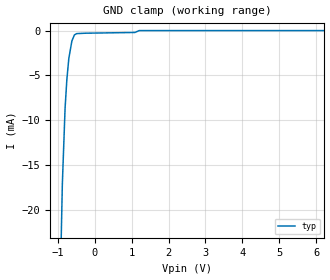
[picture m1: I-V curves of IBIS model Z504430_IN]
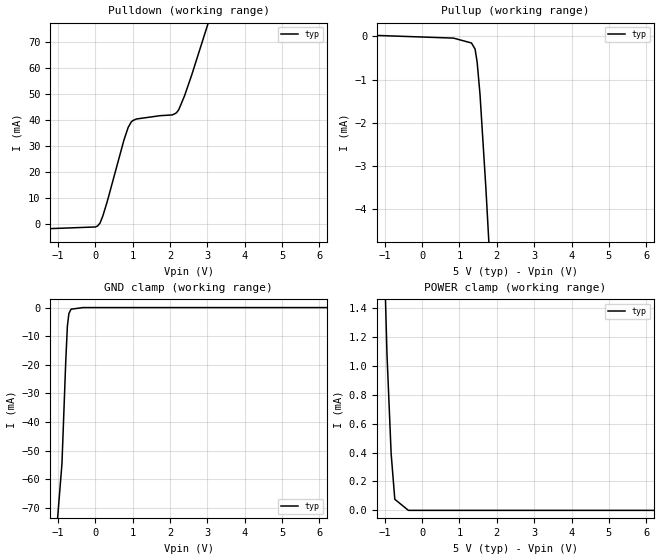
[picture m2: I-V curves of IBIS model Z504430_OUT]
| YOU ARE ONLY AUTHORIZED TO USE THIS SOFTWARE
| ACCORDING TO LICENSOR'S LICENSE RESTRICTIONS.
[IBIS Ver] 3.1
[File Name] sn54ls273j.ibs
[File Rev] 2.0
[Source] Measured and created by ICX Technology
[Date] Friday 7/14/00 9:08:14 AM
[Copyright]
| (C) COPYRIGHT 1993-2000
| MENTOR GRAPHICS CORPORATION
| ICX STANDARD LIBRARY, ICX PROJECT MODELING,
| ICX CUSTOM MODELING, ICX VENDOR MODEL
| ALL RIGHTS RESERVED.
| THE FOLLOWING ARE TRADEMARKS OR SERVICE MARKS OF
| MENTOR GRAPHICS CORPORATION:ICX (R), ICX STANDARD
| LIBRARY(R), ICX PROJECT MODELING(R), ICX CUSTOM
| MODELING(R), qualityIBIS(TM), MODELVIEWER(TM),
| AND MODELEDITOR(TM)
| ALL COPIES OF SOFTWARE, INCLUDING BUT NOT LIMITED TO
| ANY MODIFICATIONS, ENHANCEMENTS OR DERIVATIVE WORKS,
| MUST CONTAIN ALL MENTOR GRAPHICS CORPORATION'S
| NOTICES AND LEGENDS, INCLUDING THOSE EMBEDDED IN
| SOFTWARE AND THOSE AFFIXED TO SOFTWARE MEDIUM
| AND CONTAINER, AS RECEIVED FROM MENTOR GRAPHICS
| CORPORATION.
|  ZAP Model Builder 2.7
[Component] SN54LS273J
[Manufacturer] OnSemiconductor
[Package]
| variable   typ   min   max
R_pkg  .216ohms NA NA
L_pkg  5.76nH NA NA
C_pkg  2.193pF NA NA
[Pin] signal_name  model_name  R_pin  L_pin C_pin
1 _CLR Z504430_IN .232 9.76n 3.179p
2 Q0 Z504430_OUT .224 7.26n 2.686p
3 D0 Z504430_IN .216 5.26n 2.193p
4 D1 Z504430_IN .208 3.76n 1.7p
5 Q1 Z504430_OUT .2 2.76n 1.207p
6 Q2 Z504430_OUT .2 2.76n 1.207p
7 D2 Z504430_IN .208 3.76n 1.7p
8 D3 Z504430_IN .216 5.26n 2.193p
9 Q3 Z504430_OUT .224 7.26n 2.686p
10 GND GND .232 9.76n 3.179p
11 CLK Z504430_IN .232 9.76n 3.179p
12 Q4 Z504430_OUT .224 7.26n 2.686p
13 D4 Z504430_IN .216 5.26n 2.193p
14 D5 Z504430_IN .208 3.76n 1.7p
15 Q5 Z504430_OUT .2 2.76n 1.207p
16 Q6 Z504430_OUT .2 2.76n 1.207p
17 D6 Z504430_IN .208 3.76n 1.7p
18 D7 Z504430_IN .216 5.26n 2.193p
19 Q7 Z504430_OUT .224 7.26n 2.686p
20 VCC POWER .232 9.76n 3.179p
| Models and submodels in the file (2): Z504430_IN (Input), Z504430_OUT (Output)
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| (C) COPYRIGHT 1993-2000
| MENTOR GRAPHICS CORPORATION
| ICX STANDARD LIBRARY, ICX PROJECT MODELING,
| ICX CUSTOM MODELING, ICX VENDOR MODEL
| ALL RIGHTS RESERVED.
| THE FOLLOWING ARE TRADEMARKS OR SERVICE MARKS OF
| MENTOR GRAPHICS CORPORATION:ICX (R), ICX STANDARD
| LIBRARY(R), ICX PROJECT MODELING(R), ICX CUSTOM
| MODELING(R), qualityIBIS(TM), MODELVIEWER(TM),
| AND MODELEDITOR(TM)
| ALL COPIES OF SOFTWARE, INCLUDING BUT NOT LIMITED TO
| ANY MODIFICATIONS, ENHANCEMENTS OR DERIVATIVE WORKS,
| MUST CONTAIN ALL MENTOR GRAPHICS CORPORATION'S
| NOTICES AND LEGENDS, INCLUDING THOSE EMBEDDED IN
| SOFTWARE AND THOSE AFFIXED TO SOFTWARE MEDIUM
| AND CONTAINER, AS RECEIVED FROM MENTOR GRAPHICS
| CORPORATION.
| Model Application Version 1.89 2/18/99.
[Model] Z504430_IN
Model_type Input
Vinl = 800.0mV
Vinh = 2.000V
C_comp 4.000pF NA NA
| variable typ   min   max
[Voltage Range] 5.000V NA NA
[GND Clamp Reference] 0.000V NA NA
[POWER Clamp Reference] 5.000V NA NA
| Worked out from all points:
|   GND clamp passes 1 mA (typ) near -0.60 V on its own axis
[GND Clamp]
-5V       -838.8mA   NA         NA
-873.7mV  -17.17mA   NA         NA
-799.1mV  -8.641mA   NA         NA
-752mV    -5.507mA   NA         NA
-698.2mV  -3.124mA   NA         NA
-615.3mV  -1.164mA   NA         NA
-546mV    -487uA     NA         NA
-483.3mV  -345.8uA   NA         NA
-241.7mV  -301uA     NA         NA
1.089V    -218.9uA   NA         NA
1.207V    -8.555uA   NA         NA
10V       -8.555uA   NA         NA
[POWER Clamp]
-5V       0A         NA         NA
10V       0A         NA         NA
| (C) COPYRIGHT 1993-2000
| MENTOR GRAPHICS CORPORATION
| ICX STANDARD LIBRARY, ICX PROJECT MODELING,
| ICX CUSTOM MODELING, ICX VENDOR MODEL
| ALL RIGHTS RESERVED.
| THE FOLLOWING ARE TRADEMARKS OR SERVICE MARKS OF
| MENTOR GRAPHICS CORPORATION:ICX (R), ICX STANDARD
| LIBRARY(R), ICX PROJECT MODELING(R), ICX CUSTOM
| MODELING(R), qualityIBIS(TM), MODELVIEWER(TM),
| AND MODELEDITOR(TM)
| ALL COPIES OF SOFTWARE, INCLUDING BUT NOT LIMITED TO
| ANY MODIFICATIONS, ENHANCEMENTS OR DERIVATIVE WORKS,
| MUST CONTAIN ALL MENTOR GRAPHICS CORPORATION'S
| NOTICES AND LEGENDS, INCLUDING THOSE EMBEDDED IN
| SOFTWARE AND THOSE AFFIXED TO SOFTWARE MEDIUM
| AND CONTAINER, AS RECEIVED FROM MENTOR GRAPHICS
| CORPORATION.
| Model Application Version 1.89 2/18/99.
[Model] Z504430_OUT
Model_type Output
Vref=5.000V
Rref=2.000kohms
Cref=15.00pF
Vmeas=1.300V
C_comp 8.000pF NA NA
| variable typ   min   max
[Voltage Range] 5.000V NA NA
[POWER Clamp Reference] 5.000V NA NA
[Pullup Reference] 5.000V NA NA
[Pulldown Reference] 0.000V NA NA
[GND Clamp Reference] 0.000V NA NA
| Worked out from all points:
|   slope of the pulldown table from 0 to 0.75 V, typ, clamps not added: 23.2 ohm
|   slope of the pullup table from 0 to 0.75 V, typ, clamps not added: 33 kohm
|   GND clamp passes 1 mA (typ) near -0.66 V on its own axis
|   POWER clamp passes 1 mA (typ) near -0.92 V on its own axis
[GND Clamp]
-5V       -1.244A    NA         NA
-1.119V   -98.13mA   NA         NA
-1.005V   -73.73mA   NA         NA
-887.3mV  -54.52mA   NA         NA
-786.1mV  -18.81mA   NA         NA
-742.3mV  -6.471mA   NA         NA
-701.8mV  -2.086mA   NA         NA
-644.5mV  -567.2uA   NA         NA
-322.3mV  0A         NA         NA
10V       0A         NA         NA
[Pulldown]
-5V       -3.655mA   NA         NA
9.804mV   -1.015mA   NA         NA
131.8mV   502uA      NA         NA
205.2mV   3.173mA    NA         NA
771.8mV   32.41mA    NA         NA
884.3mV   37.24mA    NA         NA
966.8mV   39.3mA     NA         NA
1.101V    40.44mA    NA         NA
2.178V    42.88mA    NA         NA
2.392V    49.34mA    NA         NA
2.583V    57.3mA     NA         NA
10V       392.7mA    NA         NA
[Pullup]
-5V       139.2uA    NA         NA
843mV     -37.88uA   NA         NA
1.323V    -150.7uA   NA         NA
1.42V     -292.1uA   NA         NA
1.475V    -592.2uA   NA         NA
1.552V    -1.343mA   NA         NA
1.709V    -3.516mA   NA         NA
10V       -133.7mA   NA         NA
[POWER Clamp]
-5V       39.29mA    NA         NA
-937mV    1.079mA    NA         NA
-826mV    393.8uA    NA         NA
-728mV    76.62uA    NA         NA
-364mV    0A         NA         NA
10V       0A         NA         NA
[Ramp]
| variable typ min max
dV/dt_r 1.815/11.54n NA NA
dV/dt_f 1.815/2.287n NA NA
R_load = 500.0Ohms
